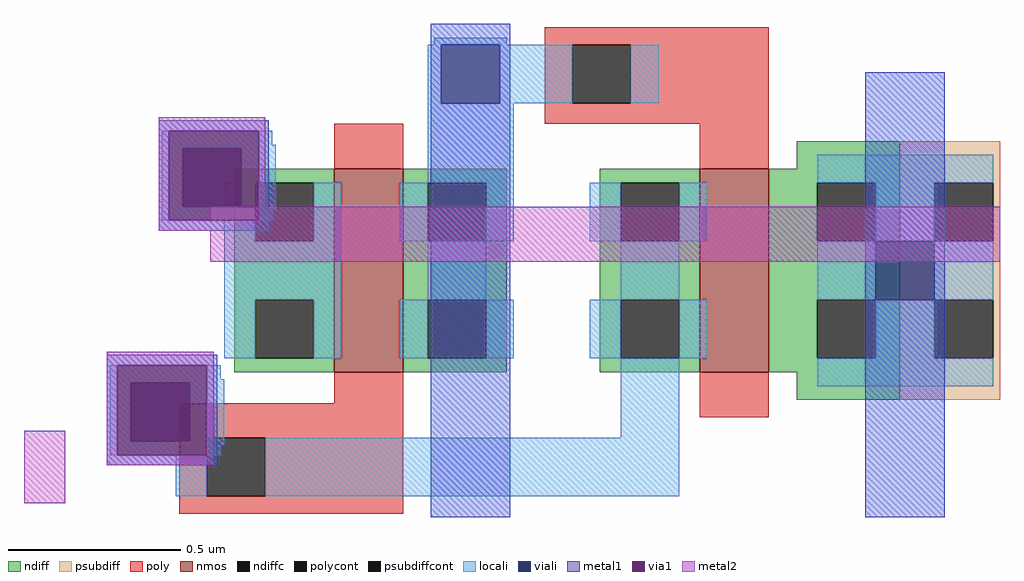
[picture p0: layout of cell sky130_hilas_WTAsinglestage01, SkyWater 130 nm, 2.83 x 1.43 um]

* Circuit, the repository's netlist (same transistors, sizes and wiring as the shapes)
* Copyright 2020 The Hilas PDK Authors
* 
* This file is part of HILAS.
* 
* HILAS is free software: you can redistribute it and/or modify
* it under the terms of the GNU Lesser General Public License as published by
* the Free Software Foundation, version 3 of the License.
* 
* HILAS is distributed in the hope that it will be useful,
* but WITHOUT ANY WARRANTY; without even the implied warranty of
* MERCHANTABILITY or FITNESS FOR A PARTICULAR PURPOSE.  See the
* GNU Lesser General Public License for more details.
* 
* You should have received a copy of the GNU Lesser General Public License
* along with HILAS.  If not, see <https://www.gnu.org/licenses/>.
* 
* Licensed under the Lesser General Public License, Version 3.0 (the "License");
* you may not use this file except in compliance with the License.
* You may obtain a copy of the License at
* 
* https://www.gnu.org/licenses/lgpl-3.0.en.html
* 
* Unless required by applicable law or agreed to in writing, software
* distributed under the License is distributed on an "AS IS" BASIS,
* WITHOUT WARRANTIES OR CONDITIONS OF ANY KIND, either express or implied.
* See the License for the specific language governing permissions and
* limitations under the License.
* 
* SPDX-License-Identifier: LGPL-3.0
* 
* 

* NGSPICE file created from sky130_hilas_WTAsinglestage01.ext - technology: sky130A


* Top level circuit sky130_hilas_WTAsinglestage01

X0 sky130_hilas_li2m2_1/SUB a_4_n68# a_n126_n150# sky130_hilas_li2m2_1/SUB sky130_fd_pr__nfet_01v8 w=590000u l=200000u
X1 a_4_n68# a_n126_n150# a_n94_n68# sky130_hilas_li2m2_1/SUB sky130_fd_pr__nfet_01v8 w=590000u l=200000u
.end

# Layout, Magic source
magic
tech sky130A
<< nmos >>
rect 90 42 110 101
rect 196 42 216 101
<< ndiff >>
rect 224 101 254 109
rect 61 97 90 101
rect 61 80 67 97
rect 84 80 90 97
rect 61 63 90 80
rect 61 46 67 63
rect 84 46 90 63
rect 61 42 90 46
rect 110 97 140 101
rect 110 80 117 97
rect 134 80 140 97
rect 110 63 140 80
rect 110 46 117 63
rect 134 46 140 63
rect 110 42 140 46
rect 167 97 196 101
rect 167 80 173 97
rect 190 80 196 97
rect 167 63 196 80
rect 167 46 173 63
rect 190 46 196 63
rect 167 42 196 46
rect 216 97 254 101
rect 216 80 230 97
rect 247 80 254 97
rect 216 63 254 80
rect 216 46 230 63
rect 247 46 254 63
rect 216 42 254 46
rect 224 34 254 42
<< ndiffc >>
rect 67 80 84 97
rect 67 46 84 63
rect 117 80 134 97
rect 117 46 134 63
rect 173 80 190 97
rect 173 46 190 63
rect 230 80 247 97
rect 230 46 247 63
<< psubdiff >>
rect 254 97 283 109
rect 254 80 264 97
rect 281 80 283 97
rect 254 63 283 80
rect 254 46 264 63
rect 281 46 283 63
rect 254 34 283 46
<< psubdiffcont >>
rect 264 80 281 97
rect 264 46 281 63
<< poly >>
rect 151 137 216 142
rect 151 120 159 137
rect 176 120 216 137
rect 151 114 216 120
rect 90 101 110 114
rect 196 101 216 114
rect 90 33 110 42
rect 45 23 110 33
rect 196 29 216 42
rect 45 6 53 23
rect 70 6 110 23
rect 45 1 110 6
<< polycont >>
rect 159 120 176 137
rect 53 6 70 23
<< locali >>
rect 119 137 140 139
rect 117 120 121 137
rect 138 120 159 137
rect 176 120 184 137
rect 117 97 142 120
rect 230 97 281 105
rect 58 80 67 97
rect 84 80 92 97
rect 109 80 117 97
rect 134 80 142 97
rect 164 80 173 97
rect 190 80 198 97
rect 247 80 264 97
rect 58 63 92 80
rect 117 63 134 80
rect 173 63 190 80
rect 230 63 247 80
rect 264 63 281 80
rect 58 46 67 63
rect 84 46 92 63
rect 109 46 117 63
rect 134 46 142 63
rect 164 46 173 63
rect 190 46 198 63
rect 247 46 264 63
rect 173 23 190 46
rect 230 38 281 46
rect 44 6 53 23
rect 70 6 190 23
<< viali >>
rect 121 120 138 137
rect 247 63 264 80
<< metal1 >>
rect 118 137 141 143
rect 118 120 121 137
rect 138 120 141 137
rect 118 0 141 120
rect 244 80 267 129
rect 244 63 247 80
rect 264 63 267 80
rect 244 0 267 63
<< metal2 >>
rect 54 74 283 90
rect 0 4 12 25
use sky130_hilas_li2m2  sky130_hilas_li2m2_0
transform 1 0 39 0 1 83
box 0 0 34 33
use sky130_hilas_li2m2  sky130_hilas_li2m2_1
transform 1 0 24 0 1 15
box 0 0 34 33
<< properties >>
string LEFsite unithd
string LEFclass CORE
string LEFsymmetry X Y R90
<< end >>

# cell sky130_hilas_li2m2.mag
magic
tech sky130A
<< locali >>
rect 1 25 33 29
rect 1 24 34 25
rect 1 7 7 24
rect 24 7 34 24
rect 1 6 34 7
rect 1 3 33 6
<< viali >>
rect 7 7 24 24
<< metal1 >>
rect 0 29 32 32
rect 0 3 3 29
rect 29 3 32 29
rect 0 0 32 3
<< via1 >>
rect 3 24 29 29
rect 3 7 7 24
rect 7 7 24 24
rect 24 7 29 24
rect 3 3 29 7
<< metal2 >>
rect 0 29 31 33
rect 0 3 3 29
rect 29 3 31 29
rect 0 0 31 3
<< properties >>
string LEFsite unithd
string LEFclass CORE
string LEFsymmetry X Y R90
<< end >>
